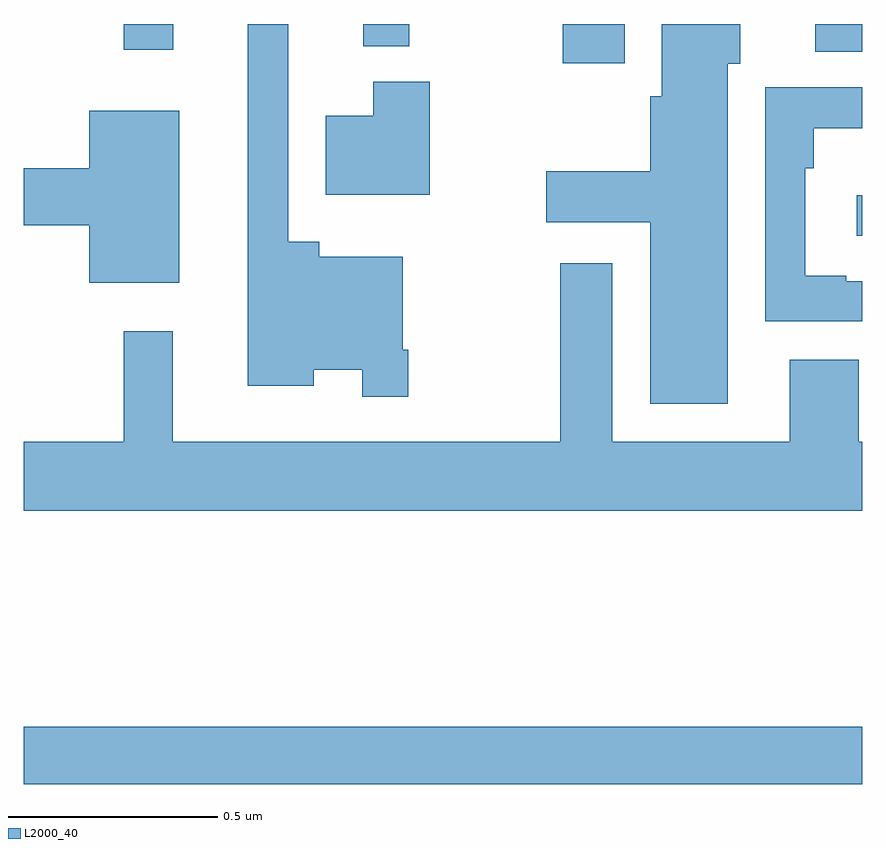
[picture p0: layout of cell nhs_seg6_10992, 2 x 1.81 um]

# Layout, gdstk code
import gdstk
lib = gdstk.Library(unit=1e-6, precision=1e-09)
def R(c, l, rs):  # rectangles x0, y0, x1, y1
    for r in rs: c.add(gdstk.rectangle(r[:2], r[2:], *l))
def P(c, l, *ps):  # polygons
    for p in ps: c.add(gdstk.Polygon(p, *l))
L2000_40 = (2000, 40)

nhs_seg6_10992 = lib.new_cell('nhs_seg6_10992')
R(nhs_seg6_10992, L2000_40, [(254,942.688,256,942.824), (255.987,943.995,256,944.092), (255.286,944.406,255.433,944.5), (255.887,944.434,256,944.5), (254.239,944.439,254.357,944.5), (254.81,944.447,254.92,944.5)])
P(nhs_seg6_10992, L2000_40, [(255.679,944.405),(255.709,944.405),(255.709,944.5),(255.521,944.5),(255.521,944.328),(255.494,944.328),(255.494,944.149),(255.246,944.149),(255.246,944.027),(255.494,944.027),(255.494,943.595),(255.679,943.595)],
  [(254.917,943.723),(254.904,943.723),(254.904,943.945),(254.705,943.945),(254.705,943.981),(254.631,943.981),(254.631,944.5),(254.534,944.5),(254.534,943.637),(254.692,943.637),(254.692,943.676),(254.808,943.676),(254.808,943.611),(254.917,943.611)],
  [(254.969,944.362),(254.834,944.362),(254.834,944.281),(254.72,944.281),(254.72,944.093),(254.969,944.093)],
  [(256,943.887),(255.961,943.887),(255.961,943.9),(255.864,943.9),(255.864,944.156),(255.884,944.156),(255.884,944.252),(256,944.252),(256,944.349),(255.768,944.349),(255.768,943.791),(256,943.791)],
  [(254.371,944.293),(254.156,944.293),(254.156,944.156),(254,944.156),(254,944.02),(254.156,944.02),(254.156,943.883),(254.371,943.883)],
  [(256,943.504),(255.991,943.504),(255.991,943.699),(255.827,943.699),(255.827,943.504),(255.403,943.504),(255.403,943.93),(255.28,943.93),(255.28,943.504),(254.356,943.504),(254.356,943.768),(254.239,943.768),(254.239,943.504),(254,943.504),(254,943.34),(256,943.34)])

lib.write_gds('nhs_seg6_10992.gds')
